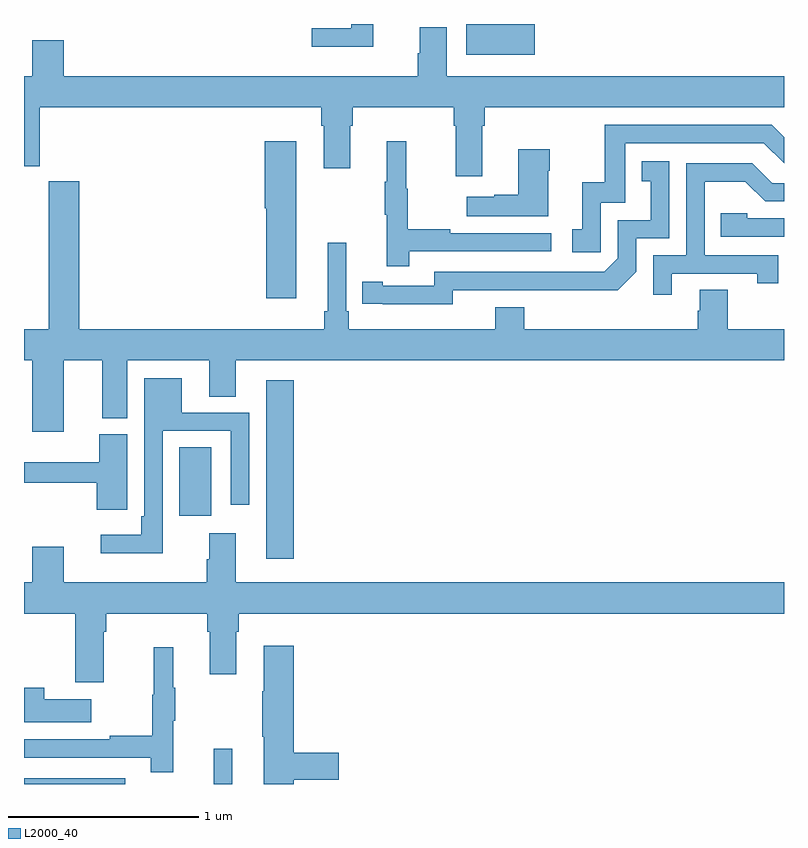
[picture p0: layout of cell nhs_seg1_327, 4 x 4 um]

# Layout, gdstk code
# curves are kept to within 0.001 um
import gdstk
lib = gdstk.Library(unit=1e-6, precision=1e-09)
def R(c, l, rs):  # rectangles x0, y0, x1, y1
    for r in rs: c.add(gdstk.rectangle(r[:2], r[2:], *l))
def P(c, l, *ps):  # polygons
    for p in ps: c.add(gdstk.Polygon(p, *l))
L2000_40 = (2000, 40)

nhs_seg1_327 = lib.new_cell('nhs_seg1_327')
R(nhs_seg1_327, L2000_40, [(129,520.199,129.534,520.23), (129.999,520.199,130.096,520.384), (130.274,521.385,130.421,522.325), (129.818,521.61,129.985,521.972), (131.328,524.036,131.689,524.199)])
P(nhs_seg1_327, L2000_40, [(130.839,524.199),(130.723,524.199),(130.723,524.176),(130.515,524.176),(130.515,524.078),(130.839,524.078)],
  [(131.413,523.664),(131.426,523.664),(131.426,523.76),(133,523.76),(133,523.924),(131.224,523.924),(131.224,524.182),(131.084,524.182),(131.084,524.045),(131.072,524.045),(131.072,523.924),(129.208,523.924),(129.208,524.113),(129.044,524.113),(129.044,523.924),(129,523.924),(129,523.451),(129.082,523.451),(129.082,523.76),(130.565,523.76),(130.565,523.664),(130.577,523.664),(130.577,523.44),(130.717,523.44),(130.717,523.664),(130.73,523.664),(130.73,523.76),(131.261,523.76),(131.261,523.664),(131.273,523.664),(131.273,523.398),(131.413,523.398)],
  [(132.036,523.257),(132.165,523.257),(132.165,523.572),(132.894,523.572),(133,523.466),(133,523.604),(132.936,523.668),(132.057,523.668),(132.057,523.366),(131.939,523.366),(131.939,523.119),(131.886,523.119),(131.886,522.999),(132.036,522.999)],
  [(131.027,523.002),(131.776,523.002),(131.776,523.098),(131.243,523.098),(131.243,523.118),(131.02,523.118),(131.02,523.332),(131.012,523.332),(131.012,523.582),(130.91,523.582),(130.91,523.369),(130.899,523.369),(130.899,523.195),(130.91,523.195),(130.91,522.924),(131.027,522.924)],
  [(130.432,523.582),(130.268,523.582),(130.268,523.23),(130.274,523.23),(130.274,522.756),(130.432,522.756)],
  [(131.758,523.427),(131.766,523.427),(131.766,523.54),(131.6,523.54),(131.6,523.301),(131.474,523.301),(131.474,523.291),(131.331,523.291),(131.331,523.187),(131.758,523.187)],
  [(131.256,522.798),(132.124,522.797),(132.222,522.894),(132.222,523.071),(132.396,523.071),(132.396,523.477),(132.25,523.477),(132.25,523.371),(132.299,523.371),(132.299,523.167),(132.126,523.167),(132.126,522.966),(132.054,522.894),(131.16,522.894),(131.16,522.822),(130.888,522.822),(130.888,522.842),(130.78,522.842),(130.78,522.726),(131.256,522.725)],
  [(132.409,522.885),(132.86,522.885),(132.86,522.834),(132.971,522.834),(132.971,522.981),(132.582,522.981),(132.582,523.37),(132.796,523.37),(132.9,523.266),(133,523.266),(133,523.362),(132.937,523.362),(132.832,523.467),(132.486,523.467),(132.486,522.981),(132.312,522.981),(132.312,522.774),(132.409,522.774)],
  [(129.208,522.428),(129.413,522.428),(129.413,522.124),(129.544,522.124),(129.544,522.428),(129.974,522.428),(129.974,522.238),(130.114,522.238),(130.114,522.428),(133,522.428),(133,522.592),(132.705,522.592),(132.705,522.8),(132.557,522.8),(132.557,522.69),(132.545,522.69),(132.545,522.592),(131.633,522.592),(131.633,522.709),(131.48,522.709),(131.48,522.592),(130.709,522.592),(130.709,522.688),(130.695,522.688),(130.695,523.048),(130.598,523.048),(130.598,522.688),(130.579,522.688),(130.579,522.592),(129.29,522.592),(129.29,523.371),(129.13,523.371),(129.13,522.592),(129,522.592),(129,522.428),(129.044,522.428),(129.044,522.054),(129.208,522.054)],
  [(133,523.176),(132.807,523.176),(132.807,523.203),(132.667,523.203),(132.667,523.08),(133,523.08)],
  [(129.729,522.057),(130.089,522.057),(130.089,521.67),(130.185,521.67),(130.185,522.153),(129.829,522.153),(129.829,522.334),(129.633,522.334),(129.633,521.608),(129.617,521.608),(129.617,521.512),(129.405,521.512),(129.405,521.414),(129.729,521.414)],
  [(129.543,521.755),(129.544,521.755),(129.544,522.039),(129.395,522.039),(129.395,521.893),(129,521.893),(129,521.784),(129.383,521.784),(129.383,521.643),(129.543,521.643)],
  [(129.421,521),(129.434,521),(129.434,521.096),(129.965,521.096),(129.965,521),(129.977,521),(129.977,520.776),(130.117,520.776),(130.117,521),(130.13,521),(130.13,521.096),(133,521.096),(133,521.26),(130.114,521.26),(130.114,521.518),(129.974,521.518),(129.974,521.381),(129.962,521.381),(129.962,521.26),(129.208,521.26),(129.208,521.449),(129.044,521.449),(129.044,521.26),(129,521.26),(129,521.096),(129.269,521.096),(129.269,520.734),(129.421,520.734)],
  [(130.421,520.222),(130.657,520.222),(130.657,520.364),(130.421,520.364),(130.421,520.927),(130.262,520.927),(130.262,520.688),(130.255,520.688),(130.255,520.447),(130.262,520.447),(130.262,520.199),(130.421,520.199)],
  [(129.785,520.531),(129.796,520.531),(129.796,520.705),(129.785,520.705),(129.785,520.918),(129.682,520.918),(129.682,520.668),(129.675,520.668),(129.675,520.454),(129.451,520.454),(129.451,520.434),(129,520.434),(129,520.338),(129.667,520.338),(129.667,520.26),(129.785,520.26)],
  [(129.355,520.645),(129.107,520.645),(129.107,520.705),(129,520.705),(129,520.523),(129.355,520.523)])

lib.write_gds('nhs_seg1_327.gds')
